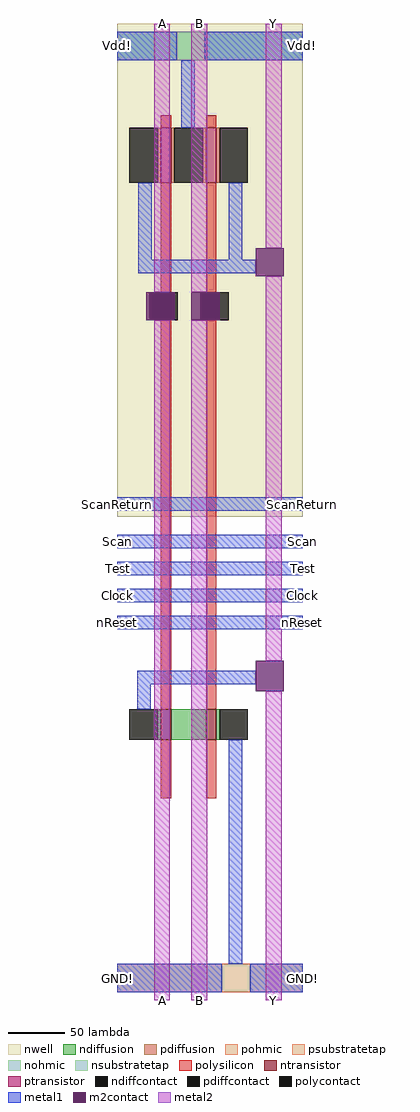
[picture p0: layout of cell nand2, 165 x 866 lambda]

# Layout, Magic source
magic
tech tsmc180
<< nwell >>
rect 0 429 165 866
<< polysilicon >>
rect 39 774 48 785
rect 79 774 88 785
rect 39 628 48 725
rect 79 628 88 725
rect 39 258 48 603
rect 79 258 88 603
rect 39 179 48 231
rect 79 179 88 231
<< ndiffusion >>
rect 36 231 39 258
rect 48 231 79 258
rect 88 231 91 258
<< pdiffusion >>
rect 36 725 39 774
rect 48 725 51 774
rect 76 725 79 774
rect 88 725 91 774
<< pohmic >>
rect 0 7 93 32
rect 118 7 165 32
<< nohmic >>
rect 0 834 53 859
rect 78 834 165 859
<< ntransistor >>
rect 39 231 48 258
rect 79 231 88 258
<< ptransistor >>
rect 39 725 48 774
rect 79 725 88 774
<< polycontact >>
rect 29 603 54 628
rect 74 603 99 628
<< ndiffcontact >>
rect 11 231 36 258
rect 91 231 116 258
<< pdiffcontact >>
rect 11 725 36 774
rect 51 725 76 774
rect 91 725 116 774
<< psubstratetap >>
rect 93 7 118 32
<< nsubstratetap >>
rect 53 834 78 859
<< metal1 >>
rect 0 834 53 859
rect 78 834 165 859
rect 57 774 69 834
rect 19 657 31 725
rect 99 657 111 725
rect 19 645 123 657
rect 0 434 165 446
rect 0 401 165 413
rect 0 377 165 389
rect 0 353 165 365
rect 0 329 165 341
rect 18 280 123 292
rect 18 258 30 280
rect 99 32 111 231
rect 0 7 93 32
rect 118 7 165 32
<< m2contact >>
rect 123 642 148 667
rect 26 603 29 628
rect 29 603 51 628
rect 66 603 74 628
rect 74 603 91 628
rect 123 274 148 301
<< metal2 >>
rect 33 628 47 866
rect 66 628 80 866
rect 132 667 146 866
rect 33 0 47 603
rect 66 0 80 603
rect 132 301 146 642
rect 132 0 146 274
<< labels >>
rlabel metal1 0 329 0 341 3 nReset
rlabel metal1 0 353 0 365 3 Clock
rlabel metal1 0 377 0 389 3 Test
rlabel metal1 0 401 0 413 3 Scan
rlabel metal1 0 434 0 446 3 ScanReturn
rlabel metal1 0 7 0 32 3 GND!
rlabel metal2 33 866 47 866 5 A
rlabel metal2 33 0 47 0 1 A
rlabel metal1 0 834 0 859 3 Vdd!
rlabel metal2 132 866 146 866 5 Y
rlabel metal2 132 0 146 0 1 Y
rlabel metal1 165 834 165 859 7 Vdd!
rlabel metal1 165 7 165 32 7 GND!
rlabel metal1 165 377 165 389 7 Test
rlabel metal1 165 353 165 365 7 Clock
rlabel metal1 165 329 165 341 7 nReset
rlabel metal1 165 401 165 413 7 Scan
rlabel metal1 165 434 165 446 7 ScanReturn
rlabel metal2 66 866 80 866 5 B
rlabel metal2 66 0 80 0 1 B
<< end >>
